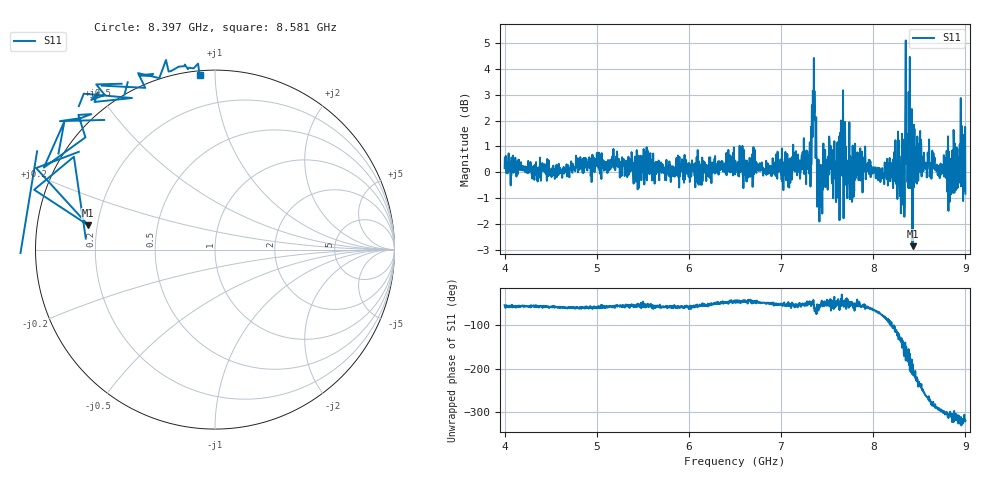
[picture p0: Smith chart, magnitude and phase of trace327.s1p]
! Created with skrf 1.8.0 (http://scikit-rf.org).
# Hz S RI R 50.0
!freq ReS11 ImS11
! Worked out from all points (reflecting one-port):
!   1601 points, 4 GHz to 9 GHz, reference 50 ohm
!   lowest |S11| = -2.9 dB at 8.431 GHz (marker M1), VSWR 6.12, Z = 8.24 + j4.64 ohm
!   phase of S11 starts at -55 deg and turns -264 deg over the sweep
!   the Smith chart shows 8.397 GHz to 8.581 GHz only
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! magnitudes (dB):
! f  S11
! 4 GHz  0.2
! 4.625 GHz  -0.2
! 5.25 GHz  -0.2
! 5.875 GHz  0.1
! 6.5 GHz  -0.1
! 7.125 GHz  0.2
! 7.297 GHz  0.1
! 7.356 GHz  4.4
! 7.4 GHz  -0.3
! 7.416 GHz  -1.9
! 7.512 GHz  0.6
! 7.591 GHz  -0.1
! 7.669 GHz  0.3
! 7.75 GHz  0.6
! 7.891 GHz  0.2
! 8.097 GHz  0.2
! 8.294 GHz  -0.3
! 8.316 GHz  0.8
! 8.328 GHz  0.4
! 8.375 GHz  0.2
! 8.431 GHz  -2.9
! 8.447 GHz  1.7
! 8.459 GHz  -0.4
! 8.503 GHz  1.1
! 8.562 GHz  0.3
! 8.841 GHz  0.2
! 8.956 GHz  0.1
! 9 GHz  -0.8
